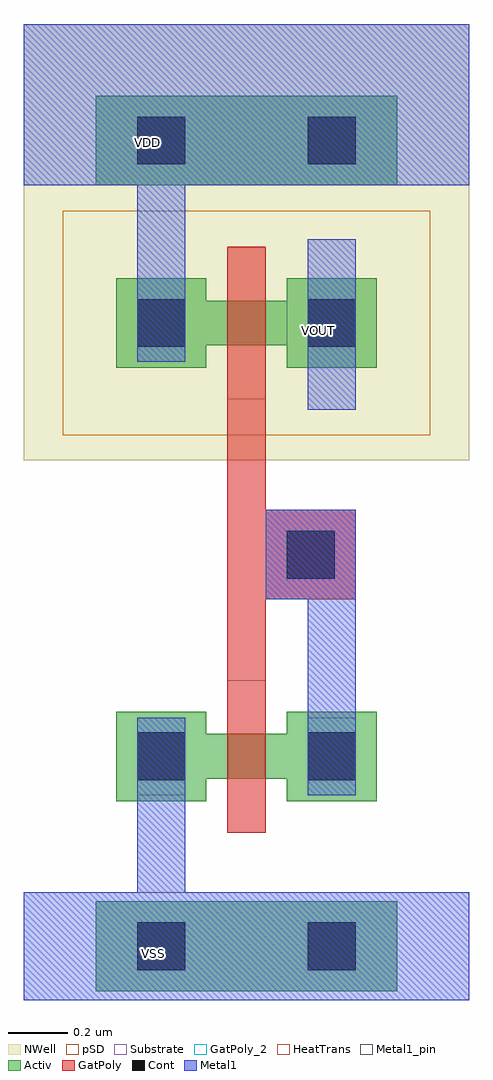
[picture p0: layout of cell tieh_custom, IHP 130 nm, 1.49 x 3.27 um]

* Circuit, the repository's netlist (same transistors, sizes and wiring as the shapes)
** sch_path: /foss/designs/PhaseInterpolator/Custom_std_cells/tieh_custom.sch
.subckt tieh_custom VDD VOUT VSS
*.PININFO VDD:B VSS:B VOUT:O
M2 VOUT net1 VDD VDD sg13_lv_pmos w=0.15u l=0.13u ng=1 m=1
M1 net1 net1 VSS VSS sg13_lv_nmos w=0.15u l=0.13u ng=1 m=1
.ends

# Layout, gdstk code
import gdstk
lib = gdstk.Library(unit=1e-6, precision=5e-09)
def R(c, l, rs):  # rectangles x0, y0, x1, y1
    for r in rs: c.add(gdstk.rectangle(r[:2], r[2:], *l))
Activ = (1, 0)
GatPoly = (5, 0)
GatPoly_2 = (5, 2)
Cont = (6, 0)
Metal1 = (8, 0)
Metal1_pin = (8, 2)
pSD = (14, 0)
NWell = (31, 0)
Substrate = (40, 0)
HeatTrans = (51, 0)

nmos = lib.new_cell('nmos')
R(nmos, Activ, [(0,0,0.3,0.3), (0.57,0,0.87,0.3), (0,0.075,0.87,0.225)])
R(nmos, GatPoly, [(0.37,-0.105,0.5,0.405)])
R(nmos, GatPoly_2, [(0.37,-0.105,0.5,0.405)])
R(nmos, Cont, [(0.07,0.07,0.23,0.23), (0.64,0.07,0.8,0.23)])
R(nmos, Metal1, [(0.07,0.02,0.23,0.28), (0.64,0.02,0.8,0.28)])
R(nmos, Metal1_pin, [(0.07,0.02,0.23,0.28), (0.64,0.02,0.8,0.28)])
R(nmos, HeatTrans, [(0.37,-0.105,0.5,0.405)])
nmos.add(gdstk.Label('nmos', (0.435,0.15), layer=63, texttype=0))
nmos.add(gdstk.Label('nmos', (0.435,0.15), layer=51, texttype=0))

pmos = lib.new_cell('pmos')
R(pmos, Activ, [(0,0,0.3,0.3), (0.57,0,0.87,0.3), (0,0.075,0.87,0.225)])
R(pmos, GatPoly, [(0.37,-0.105,0.5,0.405), (0.37,-0.105,0.5,0.405)])
R(pmos, Cont, [(0.07,0.07,0.23,0.23), (0.64,0.07,0.8,0.23)])
R(pmos, Metal1, [(0.07,0.02,0.23,0.28), (0.07,0.02,0.23,0.28), (0.64,0.02,0.8,0.28), (0.64,0.02,0.8,0.28)])
R(pmos, pSD, [(-0.18,-0.225,1.05,0.525)])
R(pmos, NWell, [(-0.31,-0.31,1.18,0.61)])
R(pmos, Substrate, [(0.57,0,0.87,0.3)])
R(pmos, HeatTrans, [(0.37,-0.105,0.5,0.405)])
pmos.add(gdstk.Label('pmos', (0.435,0.15), layer=63, texttype=0))
pmos.add(gdstk.Label('pmos', (0.435,0.15), layer=51, texttype=0))

tieh_custom = lib.new_cell('tieh_custom')
R(tieh_custom, Activ, [(0.975,0.805,1.985,1.105), (0.975,3.5,1.985,3.8)])
R(tieh_custom, GatPoly, [(1.415,1.335,1.545,3.295), (1.545,2.115,1.845,2.415)])
R(tieh_custom, Cont, [(1.115,0.875,1.275,1.035), (1.685,0.875,1.845,1.035), (1.615,2.185,1.775,2.345), (1.115,3.57,1.275,3.73), (1.685,3.57,1.845,3.73)])
R(tieh_custom, Metal1, [(0.735,0.775,2.225,1.135), (1.115,0.805,1.275,1.72), (1.685,1.46,1.845,2.345), (1.545,2.115,1.845,2.415), (1.615,2.185,1.845,2.345), (1.685,2.75,1.845,3.32), (1.115,2.91,1.275,3.8), (0.735,3.5,2.225,4.04)])
R(tieh_custom, Metal1_pin, [(0.735,0.775,2.225,1.135), (1.545,2.115,1.845,2.415), (1.685,2.75,1.845,3.32), (0.735,3.5,2.225,4.04)])
R(tieh_custom, pSD, [(0.735,0.775,2.225,1.135)])
R(tieh_custom, NWell, [(0.735,3.5,2.225,4.04)])
tieh_custom.add(gdstk.Reference(nmos, (1.045,1.44)))
tieh_custom.add(gdstk.Reference(pmos, (1.045,2.89)))
tieh_custom.add(gdstk.Label('VSS', (1.17,0.93), layer=8, texttype=25))
tieh_custom.add(gdstk.Label('VDD', (1.15,3.645), layer=8, texttype=25))
tieh_custom.add(gdstk.Label('VOUT', (1.72,3.015), layer=8, texttype=25))

lib.write_gds('tieh_custom.gds')
